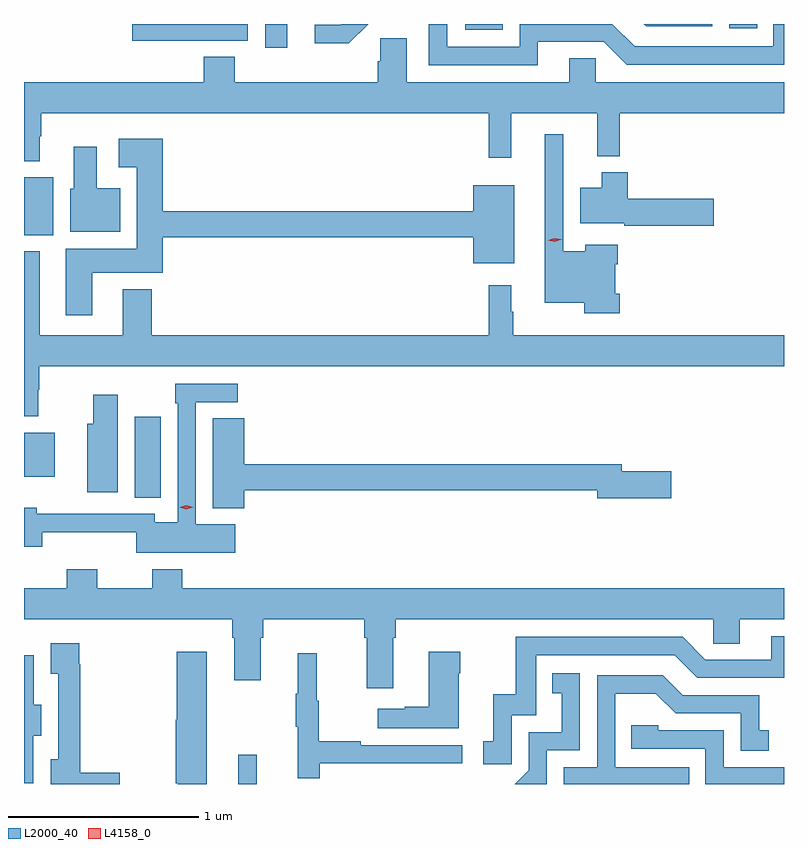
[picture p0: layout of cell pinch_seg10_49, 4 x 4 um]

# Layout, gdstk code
import gdstk
lib = gdstk.Library(unit=1e-6, precision=1e-09)
def R(c, l, rs):  # rectangles x0, y0, x1, y1
    for r in rs: c.add(gdstk.rectangle(r[:2], r[2:], *l))
def P(c, l, *ps):  # polygons
    for p in ps: c.add(gdstk.Polygon(p, *l))
L2000_40 = (2000, 40)
L4158_0 = (4158, 0)

pinch_seg10_49 = lib.new_cell('pinch_seg10_49')
R(pinch_seg10_49, L2000_40, [(853.874,1287.462,853.971,1287.616), (853.328,1288.969,853.465,1289.395), (852.746,1289.078,852.907,1289.311), (852.746,1290.35,852.901,1290.655), (854.016,1291.338,854.131,1291.462), (855.069,1291.433,855.267,1291.462), (856.458,1291.44,856.604,1291.462)])
P(pinch_seg10_49, L2000_40, [(855.451,1291.368),(855.798,1291.368),(855.918,1291.248),(856.746,1291.248),(856.746,1291.462),(856.689,1291.462),(856.689,1291.344),(855.96,1291.344),(855.842,1291.462),(855.354,1291.462),(855.354,1291.341),(854.973,1291.341),(854.973,1291.462),(854.877,1291.462),(854.877,1291.245),(855.451,1291.245)],
  [(856.368,1291.462),(856.009,1291.462),(856.022,1291.449),(856.368,1291.449)],
  [(853.607,1291.374),(853.923,1291.374),(853.923,1291.462),(853.315,1291.462),(853.315,1291.373),(853.607,1291.373)],
  [(854.557,1291.462),(854.415,1291.462),(854.411,1291.458),(854.277,1291.458),(854.277,1291.361),(854.455,1291.361)],
  [(852.829,1290.872),(852.837,1290.872),(852.837,1290.992),(855.193,1290.992),(855.193,1290.759),(855.311,1290.759),(855.311,1290.992),(855.764,1290.992),(855.764,1290.767),(855.881,1290.767),(855.881,1290.992),(856.746,1290.992),(856.746,1291.156),(855.756,1291.156),(855.756,1291.283),(855.617,1291.283),(855.617,1291.156),(854.761,1291.156),(854.761,1291.388),(854.622,1291.388),(854.622,1291.265),(854.609,1291.265),(854.609,1291.156),(853.856,1291.156),(853.856,1291.289),(853.691,1291.289),(853.691,1291.156),(852.746,1291.156),(852.746,1290.74),(852.829,1290.74)],
  [(855.881,1290.043),(855.859,1290.043),(855.859,1290.197),(855.872,1290.197),(855.872,1290.301),(855.701,1290.301),(855.701,1290.265),(855.585,1290.265),(855.585,1290.883),(855.488,1290.883),(855.488,1289.996),(855.694,1289.996),(855.694,1289.939),(855.881,1289.939)],
  [(853.105,1290.152),(853.475,1290.152),(853.475,1290.34),(855.11,1290.34),(855.11,1290.203),(855.325,1290.203),(855.325,1290.613),(855.11,1290.613),(855.11,1290.476),(853.475,1290.476),(853.475,1290.859),(853.245,1290.859),(853.245,1290.707),(853.34,1290.707),(853.34,1290.28),(852.965,1290.28),(852.965,1289.928),(853.105,1289.928)],
  [(853.252,1290.598),(853.129,1290.598),(853.129,1290.817),(853.007,1290.817),(853.007,1290.594),(852.989,1290.594),(852.989,1290.368),(853.252,1290.368)],
  [(856.375,1290.543),(855.923,1290.543),(855.923,1290.682),(855.788,1290.682),(855.788,1290.601),(855.674,1290.601),(855.674,1290.413),(855.906,1290.413),(855.906,1290.401),(856.375,1290.401)],
  [(852.82,1289.537),(852.827,1289.537),(852.827,1289.66),(856.746,1289.66),(856.746,1289.824),(855.322,1289.824),(855.322,1289.948),(855.31,1289.948),(855.31,1290.088),(855.193,1290.088),(855.193,1289.824),(853.418,1289.824),(853.418,1290.067),(853.265,1290.067),(853.265,1289.824),(852.829,1289.824),(852.829,1290.265),(852.746,1290.265),(852.746,1289.397),(852.82,1289.397)],
  [(853.858,1288.828),(853.65,1288.828),(853.65,1289.472),(853.87,1289.472),(853.87,1289.568),(853.542,1289.568),(853.542,1289.465),(853.554,1289.465),(853.554,1288.84),(853.434,1288.84),(853.434,1288.884),(852.814,1288.884),(852.814,1288.915),(852.746,1288.915),(852.746,1288.712),(852.842,1288.712),(852.842,1288.787),(853.338,1288.787),(853.338,1288.679),(853.858,1288.679)],
  [(853.24,1289.512),(853.111,1289.512),(853.111,1289.359),(853.079,1289.359),(853.079,1288.998),(853.24,1288.998)],
  [(853.906,1289.008),(855.764,1289.008),(855.764,1288.966),(856.153,1288.966),(856.153,1289.108),(855.892,1289.108),(855.892,1289.144),(853.906,1289.144),(853.906,1289.387),(853.739,1289.387),(853.739,1288.913),(853.906,1288.913)],
  [(854.689,1288.232),(854.702,1288.232),(854.702,1288.328),(856.374,1288.328),(856.374,1288.201),(856.513,1288.201),(856.513,1288.328),(856.746,1288.328),(856.746,1288.492),(853.58,1288.492),(853.58,1288.591),(853.42,1288.591),(853.42,1288.492),(853.131,1288.492),(853.131,1288.591),(852.971,1288.591),(852.971,1288.492),(852.746,1288.492),(852.746,1288.328),(853.841,1288.328),(853.841,1288.232),(853.853,1288.232),(853.853,1288.008),(853.993,1288.008),(853.993,1288.232),(854.006,1288.232),(854.006,1288.328),(854.537,1288.328),(854.537,1288.232),(854.549,1288.232),(854.549,1287.966),(854.689,1287.966)],
  [(855.312,1287.825),(855.441,1287.825),(855.441,1288.14),(856.17,1288.14),(856.29,1288.02),(856.746,1288.02),(856.746,1288.239),(856.679,1288.239),(856.679,1288.116),(856.332,1288.116),(856.212,1288.236),(855.333,1288.236),(855.333,1287.934),(855.215,1287.934),(855.215,1287.687),(855.162,1287.687),(855.162,1287.567),(855.312,1287.567)],
  [(853.249,1287.521),(853.043,1287.521),(853.043,1288.091),(853.036,1288.091),(853.036,1288.204),(852.887,1288.204),(852.887,1288.043),(852.927,1288.043),(852.927,1287.592),(852.887,1287.592),(852.887,1287.462),(853.249,1287.462)],
  [(853.708,1288.159),(853.55,1288.159),(853.55,1287.801),(853.544,1287.801),(853.544,1287.465),(853.555,1287.465),(853.555,1287.462),(853.708,1287.462)],
  [(855.034,1288.046),(855.042,1288.046),(855.042,1288.159),(854.876,1288.159),(854.876,1287.869),(854.75,1287.869),(854.75,1287.859),(854.607,1287.859),(854.607,1287.755),(855.034,1287.755)],
  [(854.303,1287.57),(855.052,1287.57),(855.052,1287.666),(854.519,1287.666),(854.519,1287.686),(854.296,1287.686),(854.296,1287.9),(854.288,1287.9),(854.288,1288.15),(854.186,1288.15),(854.186,1287.937),(854.175,1287.937),(854.175,1287.763),(854.186,1287.763),(854.186,1287.492),(854.303,1287.492)],
  [(852.795,1287.716),(852.838,1287.716),(852.838,1287.88),(852.796,1287.88),(852.796,1288.14),(852.746,1288.14),(852.746,1287.467),(852.795,1287.467)],
  [(855.498,1287.639),(855.672,1287.639),(855.672,1288.045),(855.526,1288.045),(855.526,1287.939),(855.575,1287.939),(855.575,1287.735),(855.402,1287.735),(855.402,1287.534),(855.33,1287.462),(855.498,1287.462)],
  [(856.247,1287.549),(855.858,1287.549),(855.858,1287.938),(856.072,1287.938),(856.176,1287.834),(856.518,1287.834),(856.518,1287.636),(856.666,1287.636),(856.666,1287.745),(856.617,1287.745),(856.617,1287.93),(856.213,1287.93),(856.108,1288.035),(855.762,1288.035),(855.762,1287.549),(855.588,1287.549),(855.588,1287.462),(856.247,1287.462)],
  [(856.746,1287.549),(856.428,1287.549),(856.428,1287.744),(856.083,1287.744),(856.083,1287.771),(855.943,1287.771),(855.943,1287.648),(856.332,1287.648),(856.332,1287.462),(856.746,1287.462)])
P(pinch_seg10_49, L4158_0, [(855.54,1290.315),(855.504,1290.323),(855.503,1290.323),(855.504,1290.323),(855.538,1290.335),(855.575,1290.328),(855.575,1290.328),(855.575,1290.328)],
  [(853.601,1288.908),(853.567,1288.918),(853.567,1288.918),(853.567,1288.919),(853.601,1288.928),(853.636,1288.919),(853.636,1288.918),(853.636,1288.918)])

lib.write_gds('pinch_seg10_49.gds')
